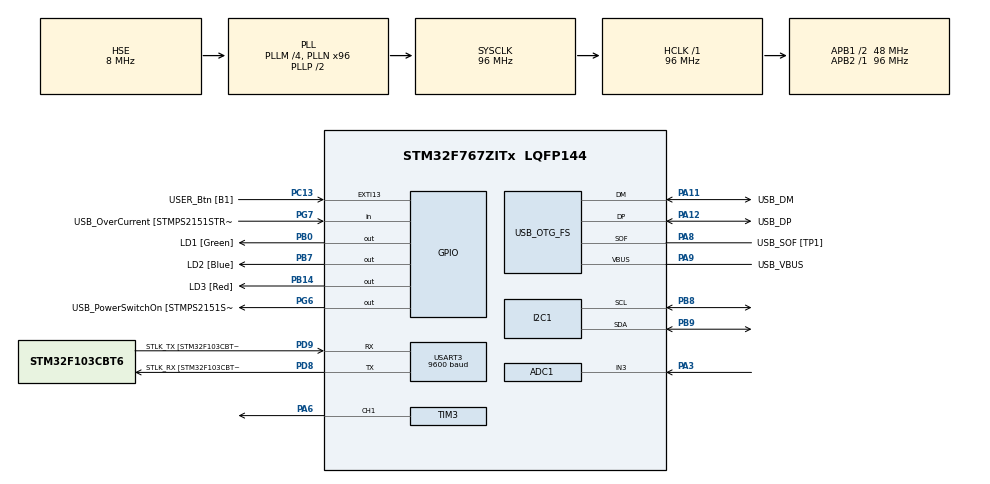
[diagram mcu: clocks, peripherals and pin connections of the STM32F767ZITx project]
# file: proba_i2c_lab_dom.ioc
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ADC1.Channel-0\#ChannelRegularConversion=ADC_CHANNEL_3
ADC1.NbrOfConversionFlag=1
ADC1.Rank-0\#ChannelRegularConversion=1
ADC1.SamplingTime-0\#ChannelRegularConversion=ADC_SAMPLETIME_3CYCLES
ADC1.master=1
ARM.CMSIS.5.7.0.CMSISJjCORE=true
ARM.CMSIS.5.7.0.CMSISJjDSP=Library
I2C1.Timing=0x20303E5D
Mcu.Family=STM32F7
Mcu.Name=STM32F767ZITx
Mcu.Package=LQFP144
NVIC.ADC_IRQn=true\:0\:0\:false\:false\:true\:true\:true
NVIC.I2C1_ER_IRQn=true\:0\:0\:false\:false\:true\:true\:true
NVIC.I2C1_EV_IRQn=true\:0\:0\:false\:false\:true\:true\:true
NVIC.PriorityGroup=NVIC_PRIORITYGROUP_4
NVIC.TIM2_IRQn=true\:0\:0\:false\:false\:true\:true\:true
NVIC.TIM4_IRQn=true\:0\:0\:false\:false\:true\:true\:true
NVIC.USART3_IRQn=true\:0\:0\:false\:false\:true\:true\:true
PA1.GPIO_Label=RMII_REF_CLK [LAN8742A-CZ-TR_REFCLK0]
PA1.Signal=ETH_REF_CLK
PA10.GPIO_Label=USB_ID
PA10.Signal=USB_OTG_FS_ID
PA11.GPIO_Label=USB_DM
PA11.Mode=Device_Only
PA11.Signal=USB_OTG_FS_DM
PA12.GPIO_Label=USB_DP
PA12.Mode=Device_Only
PA12.Signal=USB_OTG_FS_DP
PA13.GPIO_Label=TMS
PA13.Mode=Serial_Wire
PA13.Signal=SYS_JTMS-SWDIO
PA14.GPIO_Label=TCK
PA14.Mode=Serial_Wire
PA14.Signal=SYS_JTCK-SWCLK
PA2.GPIO_Label=RMII_MDIO [LAN8742A-CZ-TR_MDIO]
PA2.Signal=ETH_MDIO
PA3.Signal=ADCx_IN3
PA6.Signal=S_TIM3_CH1
PA7.GPIO_Label=RMII_CRS_DV [LAN8742A-CZ-TR_CRS_DV]
PA7.Signal=ETH_CRS_DV
PA8.GPIO_Label=USB_SOF [TP1]
PA8.Mode=Activate_SOF_FS
PA8.Signal=USB_OTG_FS_SOF
PA9.GPIO_Label=USB_VBUS
PA9.Mode=Activate_VBUS
PA9.Signal=USB_OTG_FS_VBUS
PB0.GPIO_Label=LD1 [Green]
PB0.Signal=GPIO_Output
PB13.GPIO_Label=RMII_TXD1 [LAN8742A-CZ-TR_TXD1]
PB13.Signal=ETH_TXD1
PB14.GPIO_Label=LD3 [Red]
PB14.Signal=GPIO_Output
PB3.GPIO_Label=SWO
PB3.Signal=SYS_JTDO-SWO
PB7.GPIO_Label=LD2 [Blue]
PB7.Signal=GPIO_Output
PB8.GPIO_Pu=GPIO_NOPULL
PB8.GPIO_Speed=GPIO_SPEED_FREQ_VERY_HIGH
PB8.Mode=I2C
PB8.Signal=I2C1_SCL
PB9.Mode=I2C
PB9.Signal=I2C1_SDA
PC1.GPIO_Label=RMII_MDC [LAN8742A-CZ-TR_MDC]
PC1.Signal=ETH_MDC
PC13.GPIO_Label=USER_Btn [B1]
PC13.Signal=GPXTI13
PC14/OSC32_IN.Mode=LSE-External-Oscillator
PC14/OSC32_IN.Signal=RCC_OSC32_IN
PC15/OSC32_OUT.Mode=LSE-External-Oscillator
PC15/OSC32_OUT.Signal=RCC_OSC32_OUT
PC4.GPIO_Label=RMII_RXD0 [LAN8742A-CZ-TR_RXD0]
PC4.Signal=ETH_RXD0
PC5.GPIO_Label=RMII_RXD1 [LAN8742A-CZ-TR_RXD1]
PC5.Signal=ETH_RXD1
PD8.GPIO_Label=STLK_RX [STM32F103CBT6_PA3]
PD8.Mode=Asynchronous
PD8.Signal=USART3_TX
PD9.GPIO_Label=STLK_TX [STM32F103CBT6_PA2]
PD9.Mode=Asynchronous
PD9.Signal=USART3_RX
PG11.GPIO_Label=RMII_TX_EN [LAN8742A-CZ-TR_TXEN]
PG11.Signal=ETH_TX_EN
PG13.GPIO_Label=RMII_TXD0 [LAN8742A-CZ-TR_TXD0]
PG13.Signal=ETH_TXD0
PG6.GPIO_Label=USB_PowerSwitchOn [STMPS2151STR_EN]
PG6.Signal=GPIO_Output
PG7.GPIO_Label=USB_OverCurrent [STMPS2151STR_FAULT]
PG7.Signal=GPIO_Input
PH0/OSC_IN.GPIO_Label=MCO [STM32F103CBT6_PA8]
PH0/OSC_IN.Mode=HSE-External-Clock-Source
PH0/OSC_IN.Signal=RCC_OSC_IN
PH1/OSC_OUT.Mode=HSE-External-Clock-Source
PH1/OSC_OUT.Signal=RCC_OSC_OUT
ProjectManager.HeapSize=0x200
ProjectManager.StackSize=0x400
ProjectManager.TargetToolchain=STM32CubeIDE
RCC.48MHZClocksFreq_Value=24000000
RCC.AHBFreq_Value=96000000
RCC.APB1CLKDivider=RCC_HCLK_DIV2
RCC.APB1Freq_Value=48000000
RCC.APB1TimFreq_Value=96000000
RCC.APB2Freq_Value=96000000
RCC.APB2TimFreq_Value=96000000
RCC.CortexFreq_Value=96000000
RCC.HCLKFreq_Value=96000000
RCC.HSE_VALUE=8000000
RCC.HSI_VALUE=16000000
RCC.PLLM=4
RCC.PLLMUL=RCC_PLL_MUL9
RCC.PLLN=96
RCC.PLLQ=4
RCC.PRESCALERUSB=RCC_USBCLKSOURCE_PLL_DIV1_5
RCC.SYSCLKFreq_VALUE=96000000
RCC.SYSCLKSource=RCC_SYSCLKSOURCE_PLLCLK
RCC.SYSCLKSourceVirtual=RCC_SYSCLKSOURCE_PLLCLK
RCC.USBFreq_Value=48000000
RCC.VCOOutputFreq_Value=192000000
SH.ADCx_IN3.0=ADC1_IN3,IN3
SH.S_TIM3_CH1.0=TIM3_CH1,PWM Generation1 CH1
TIM2.Period=1000-1
TIM2.Prescaler=9600-1
TIM3.Channel-PWM\ Generation1\ CH1=TIM_CHANNEL_1
TIM3.Period=1000-1
TIM3.Prescaler=96-1
TIM4.Period=10000-1
TIM4.Prescaler=9600-1
USART3.BaudRate=9600
USART3.VirtualMode-Asynchronous=VM_ASYNC
USB_OTG_FS.VirtualMode=Device_Only
VP_ARM.CMSIS_VS_CMSISJjCORE_5.4.0_5.7.0.Mode=CMSISJjCORE
VP_ARM.CMSIS_VS_CMSISJjDSP_1.8.0_5.7.0.Mode=CMSISJjDSP
VP_TIM2_VS_ClockSourceINT.Mode=Internal
VP_TIM3_VS_ClockSourceINT.Mode=Internal
VP_TIM4_VS_ClockSourceINT.Mode=Internal
board=NUCLEO-F767ZI

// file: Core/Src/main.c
/* USER CODE BEGIN Header */
/**
 ******************************************************************************
 * @file           : main.c
 * @brief          : Main program body
 ******************************************************************************
 * @attention
 *
 * <h2><center>&copy; Copyright (c) 2021 STMicroelectronics.
 * All rights reserved.</center></h2>
 *
 * This software component is licensed by ST under BSD 3-Clause license,
 * the "License"; You may not use this file except in compliance with the
 * License. You may obtain a copy of the License at:
 *                        opensource.org/licenses/BSD-3-Clause
 *
 ******************************************************************************
 */
/* USER CODE END Header */
#include "main.h"
#include "adc.h"
#include "i2c.h"
#include "tim.h"
#include "usart.h"
#include "usb_otg.h"
#include "gpio.h"

/* USER CODE BEGIN Includes */
#include "bh_1750.h"
#include "arm_math.h"
/* USER CODE END Includes */

/* USER CODE BEGIN PM */
#define LUXTOMV_RATIO 0.305
/* USER CODE END PM */

/* USER CODE BEGIN PV */
//zadeklarowanie struktury czujnika
BH1750_HandleTypeDef hbh1750_1 = {
		&hi2c1, BH1750_ADDRESS_L, 200
};

BH1750_HandleTypeDef hbh1750_2 = {
		.I2C = &hi2c1, .Address = BH1750_ADDRESS_H, .Timeout = 0xffff
};
//zmienne dla czujnika
//	char cmd_msg[] = "000000";
//	float control;  //???????????????????
float light;
uint16_t light_calkowite;

//zmienne do przesyłu pomiaru na terminal
uint16_t data_msg[32];
int length;

//wypełnienie PWM
volatile uint16_t pwm = 0;

//bufor do zadawania wypełnienia
char user_val[4];

//zmienne ADC
const uint32_t ADC_REG_MAX = 0xfff; //12-bits
const float ADC_VOLTAGE_MAX = 3.3; //[V]
const uint32_t ADC_TIMEOUT = 100; //[as]

//ADC wyniki konwersji
volatile uint32_t ADC_measurement = 0; //wartość rejestru
volatile float ADC_voltage = 0; //wartośc napięcia w Voltach
volatile uint32_t ADC_voltage_mV = 0; //wartość napięcia w miliVoltach

//flaga - wyznacza urz. wejscia. 1 -> terminal; 0 -> potencjometr
volatile uint32_t flag = 1;

//zmienna globalna zadanego natężenia światła uniwersalna
volatile float lux_demanded = 500;

//zmienna natężenia światła za pomocą potencjometru
volatile float lux_by_ADC = 0;

//zmienna natężenia światła za pomocą UART
volatile uint32_t lux_by_UART = 0;

//zmienna ograniczająca
volatile uint32_t max_lux = 1000;

//param PID
#define PID_PARAM_KP        0.5            /* Proportional */
#define PID_PARAM_KI        0.1       /* Integral */
#define PID_PARAM_KD        0
float pid_error = 0;
float duty = 0;

/* USER CODE END PV */

void SystemClock_Config(void);

/* USER CODE BEGIN 0 */
arm_pid_instance_f32 PID;

/* USER CODE END 0 */

int main(void)
{
  /* USER CODE BEGIN 1 */
	PID.Kp = PID_PARAM_KP;
	PID.Ki = PID_PARAM_KI;
	PID.Kd = PID_PARAM_KD;

	arm_pid_init_f32(&PID, 1);
  /* USER CODE END 1 */

  /* MCU Configuration--------------------------------------------------------*/

  /* Reset of all peripherals, Initializes the Flash interface and the Systick. */
  HAL_Init();

  /* Configure the system clock */
  SystemClock_Config();

  /* Initialize all configured peripherals */
  MX_GPIO_Init();
  MX_USART3_UART_Init();
  MX_USB_OTG_FS_PCD_Init();
  MX_I2C1_Init();
  MX_TIM2_Init();
  MX_TIM3_Init();
  MX_ADC1_Init();
  MX_TIM4_Init();
  /* USER CODE BEGIN 2 */

	//inicjalizacja czujnika światła
	BH1750_Init(&hbh1750_1);

	//start timera 2 odpowiadającego za cykliczny pomiar i realizację sterowania
	HAL_TIM_Base_Start_IT(&htim2);
	//start timera 4 odpowiadającego za przesyłanie wartości na port szeregowy
	HAL_TIM_Base_Start_IT(&htim4);
	//wystartowanie PWM
	HAL_TIM_PWM_Start(&htim3, TIM_CHANNEL_1);
	//przypisanie wypełnienia do kanału pwm
	//__HAL_TIM_SET_COMPARE(&htim3, TIM_CHANNEL_1, pwm);
	//nasłuch na komendę z terminala UART w trybie przerwaniowym
	HAL_UART_Receive_IT(&huart3, (uint8_t*)user_val, 4);

  /* USER CODE END 2 */

  /* Infinite loop */
	while (1)
	{

	}
}

void SystemClock_Config(void)
{
  RCC_OscInitTypeDef RCC_OscInitStruct = {0};
  RCC_ClkInitTypeDef RCC_ClkInitStruct = {0};
  RCC_PeriphCLKInitTypeDef PeriphClkInitStruct = {0};

  /** Configure LSE Drive Capability
  */
  HAL_PWR_EnableBkUpAccess();
  /** Configure the main internal regulator output voltage
  */
  __HAL_RCC_PWR_CLK_ENABLE();
  __HAL_PWR_VOLTAGESCALING_CONFIG(PWR_REGULATOR_VOLTAGE_SCALE3);
  /** Initializes the RCC Oscillators according to the specified parameters
  * in the RCC_OscInitTypeDef structure.
  */
  RCC_OscInitStruct.OscillatorType = RCC_OSCILLATORTYPE_HSE;
  RCC_OscInitStruct.HSEState = RCC_HSE_BYPASS;
  RCC_OscInitStruct.PLL.PLLState = RCC_PLL_ON;
  RCC_OscInitStruct.PLL.PLLSource = RCC_PLLSOURCE_HSE;
  RCC_OscInitStruct.PLL.PLLM = 4;
  RCC_OscInitStruct.PLL.PLLN = 96;
  RCC_OscInitStruct.PLL.PLLP = RCC_PLLP_DIV2;
  RCC_OscInitStruct.PLL.PLLQ = 4;
  RCC_OscInitStruct.PLL.PLLR = 2;
  if (HAL_RCC_OscConfig(&RCC_OscInitStruct) != HAL_OK)
  {
    Error_Handler();
  }
  /** Activate the Over-Drive mode
  */
  if (HAL_PWREx_EnableOverDrive() != HAL_OK)
  {
    Error_Handler();
  }
  /** Initializes the CPU, AHB and APB buses clocks
  */
  RCC_ClkInitStruct.ClockType = RCC_CLOCKTYPE_HCLK|RCC_CLOCKTYPE_SYSCLK
                              |RCC_CLOCKTYPE_PCLK1|RCC_CLOCKTYPE_PCLK2;
  RCC_ClkInitStruct.SYSCLKSource = RCC_SYSCLKSOURCE_PLLCLK;
  RCC_ClkInitStruct.AHBCLKDivider = RCC_SYSCLK_DIV1;
  RCC_ClkInitStruct.APB1CLKDivider = RCC_HCLK_DIV2;
  RCC_ClkInitStruct.APB2CLKDivider = RCC_HCLK_DIV1;

  if (HAL_RCC_ClockConfig(&RCC_ClkInitStruct, FLASH_LATENCY_3) != HAL_OK)
  {
    Error_Handler();
  }
  PeriphClkInitStruct.PeriphClockSelection = RCC_PERIPHCLK_USART3|RCC_PERIPHCLK_I2C1
                              |RCC_PERIPHCLK_CLK48;
  PeriphClkInitStruct.Usart3ClockSelection = RCC_USART3CLKSOURCE_PCLK1;
  PeriphClkInitStruct.I2c1ClockSelection = RCC_I2C1CLKSOURCE_PCLK1;
  PeriphClkInitStruct.Clk48ClockSelection = RCC_CLK48SOURCE_PLL;
  if (HAL_RCCEx_PeriphCLKConfig(&PeriphClkInitStruct) != HAL_OK)
  {
    Error_Handler();
  }
}

/* USER CODE BEGIN 4 */

////przerwanie od portu szeregowego przyjmujące i przypisujące do zmiennej zadaną wartość
void HAL_UART_RxCpltCallback(UART_HandleTypeDef *huart)
{
	if(((int)user_val[0] - 48) == 0 && ((int)user_val[1]- 48) == 0 && ((int)user_val[2]- 48) == 0 && ((int)user_val[3] - 48) == 0)
	{
		if(flag == 0)
		{
			flag = 1; //terminal jest wejsciem
		}
	}

	if(((int)user_val[0] - 48) == 9 && ((int)user_val[1]- 48) == 9 && ((int)user_val[2]- 48) == 9 && ((int)user_val[3] - 48) == 9)
	{
		flag = 0;
	}

	if(flag == 1)
	{
		//obliczenie żądanej wartości natężenia oświetlenia na podstawie odczytu z terminala
			lux_by_UART = 1000*((int)user_val[0] - 48) + 100*((int)user_val[1] - 48) + 10*((int)user_val[2] - 48) + 1*((int)user_val[3] - 48);

			if(lux_by_UART > max_lux)
			{
				lux_by_UART = max_lux;
			};
			lux_demanded = lux_by_UART;
	}

	//__HAL_TIM_SET_COMPARE(&htim3, TIM_CHANNEL_1, pwm);
	HAL_UART_Receive_IT(&huart3, (uint8_t*)user_val, 4);
}

//przerwanie od ADC przyjmujące i przypisujące do zmiennej zadaną wartość
void HAL_ADC_ConvCpltCallback(ADC_HandleTypeDef* hadc)
{

		ADC_measurement = HAL_ADC_GetValue(&hadc1);
		ADC_voltage = ((float)ADC_measurement / (float)ADC_REG_MAX) * ADC_VOLTAGE_MAX;
		ADC_voltage_mV = (uint32_t)(1000.0*ADC_voltage);

		if(flag == 0)
		{
			lux_by_ADC = ADC_voltage_mV * LUXTOMV_RATIO;

			if(lux_by_ADC > max_lux)
			{
				lux_by_ADC = max_lux;
			}
			lux_demanded = lux_by_ADC;
		}

}

//przerwanie od timera realizujące pomiar oraz sterowanie co odp czest.
void HAL_TIM_PeriodElapsedCallback(TIM_HandleTypeDef *htim)
{
	if(htim -> Instance == TIM2)
	{
		// odczyt natężenia światła
			light = BH1750_ReadLux(&hbh1750_1);

			pid_error = lux_demanded - light; //lux_in

			duty = arm_pid_f32(&PID, pid_error);

			if (duty > 1000) {
				duty = 1000;
			} else if (duty < 0) {
				duty = 0;
			}

			__HAL_TIM_SET_COMPARE(&htim3, TIM_CHANNEL_1, duty);

			// odczyt natężenia światła - całkowity
			light_calkowite = (uint16_t)light;

			//Start ADC w trybieprzerwaniowym
		HAL_ADC_Start_IT(&hadc1);
	}
	//przesył POMIARU, syg. REFERENCYJNEGO, STEROWANIA na port szeregowy
	if(htim -> Instance == TIM4)
	{
		length = sprintf(data_msg, " POM: %d \[lux\] , REF: %d \[lux\] , STER: %d \r\n", (int)light,  (int)lux_demanded, (int)duty);
		HAL_UART_Transmit(&huart3, data_msg, length, 0xffff);
	}
}

/* USER CODE END 4 */

void Error_Handler(void)
{
	__disable_irq();
	while (1)
	{
	}
}

/************************ (C) COPYRIGHT STMicroelectronics *****END OF FILE****/
